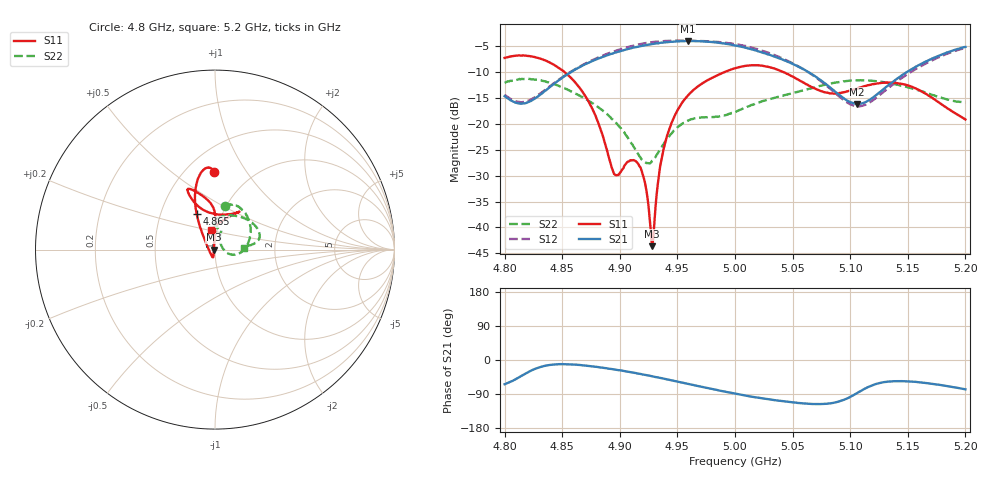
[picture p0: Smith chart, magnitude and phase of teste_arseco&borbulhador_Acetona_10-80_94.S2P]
! Network Analyzer HP8722D
! Hewlett-Packard
! Data name: Linha & Wilkinson
! Saver's name: Rodrigo Anjos
! Comments: Teste da utilização de aquisição
! continua pelo VNA HP8722D
! Time and date: 25/4/2025 16:03
!  Frequency  S11  S21  S12  S22
# HZ  S  MA R 50
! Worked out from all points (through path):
!   401 points, 4.8 GHz to 5.2 GHz, reference 50 ohm
!   highest |S21| = -3.96 dB at 4.959 GHz (marker M1); lowest = -16.1 dB at 5.106 GHz (marker M2)
!   lowest |S11| = -43.6 dB at 4.928 GHz (marker M3), VSWR 1.01, Z = 49.4 - j0.111 ohm
!   |S11| at or under -10 dB: 4.852 GHz to 4.991 GHz (138.7 MHz wide, 2.82 % of centre); 5.042 GHz to end of sweep
!   |S22| runs from -27.6 to -11.3 dB; largest |S21 - S12| = 1.2
!   S11 on the Smith chart (normalised r, x): 4.8 GHz: 0.68, +0.72; 4.865 GHz: 0.76, +0.32; 5.2 GHz: 0.94, +0.21
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4.8e9  0.4347 90.7  0.1856 -64.0  0.1912 69.6  0.249 77.2
4.82e9  0.4537 96.9  0.1612 -32.6  0.1667 98.3  0.2734 62.0
4.845e9  0.3604 107.4  0.2539 -11.2  0.2578 119.4  0.2379 34.6
4.865e9  0.2245 117.1  0.3529 -13.0  0.3577 120.9  0.1882 11.1
4.867e9  0.2093 118.2  0.3634 -13.8  0.3674 120.8  0.1828 8.8
4.88e9  0.1114 128.6  0.422 -18.3  0.433 118.3  0.149 -5.1
4.895e9  0.0329 -174.7  0.4855 -24.8  0.5016 113.8  0.1073 -15.6
4.91e9  0.04454 -105.6  0.5392 -32.5  0.5649 107.2  0.06505 -14.1
4.917e9  0.03914 -102.5  0.5625 -36.2  0.5889 103.6  0.04886 -1.1
4.922e9  0.02659 -105.8  0.5751 -39.1  0.6032 100.8  0.04268 16.0
4.928e9  0.006598 -170.2  0.5919 -43.0  0.617 97.1  0.04407 40.3
4.93e9  0.01097 121.5  0.596 -44.1  0.6202 95.8  0.04635 47.8
4.934e9  0.03216 99.0  0.603 -46.7  0.6271 93.4  0.05441 58.6
4.943e9  0.08925 90.7  0.6192 -52.4  0.6352 87.5  0.07624 68.8
4.959e9  0.188 89.6  0.634 -62.9  0.6389 77.3  0.1074 71.2
5e9  0.345 109.1  0.575 -88.9  0.5928 50.9  0.1308 88.5
5.03e9  0.3536 115.2  0.4666 -104.2  0.4832 33.8  0.1732 85.3
5.067e9  0.226 105.2  0.3017 -115.9  0.299 23.6  0.2222 57.4
5.106e9  0.2196 64.6  0.1562 -87.2  0.1482 55.8  0.2632 24.9
5.134e9  0.2516 57.3  0.2409 -56.7  0.226 88.7  0.2484 12.4
5.168e9  0.1882 69.2  0.4121 -61.7  0.3963 85.3  0.1959 6.9
5.2e9  0.1105 100.4  0.5545 -77.4  0.5447 70.2  0.1613 3.9
